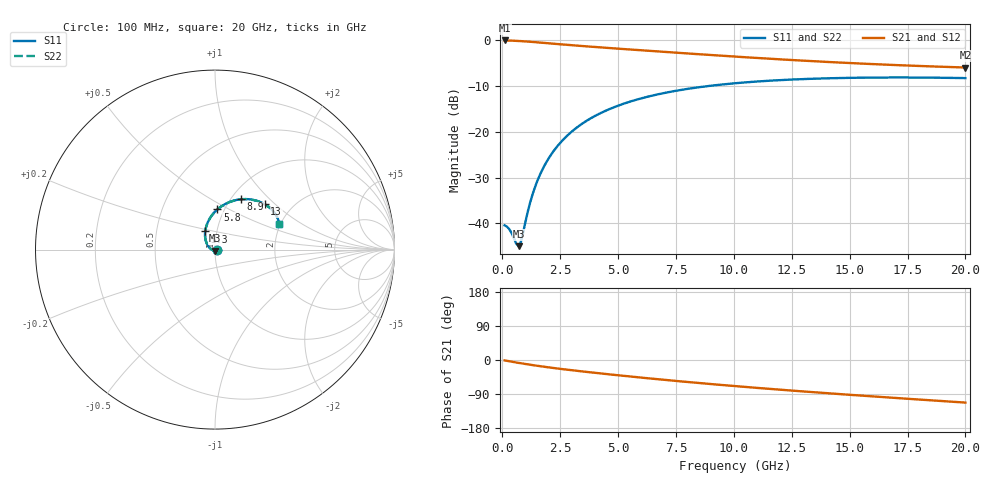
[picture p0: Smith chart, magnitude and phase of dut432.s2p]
! Touchstone file exported from HFSS 2024.1.0
!  File:  C:/UserFiles/LocalFiles/RDL_TSV_Batchsim/temp_RDL_TSV_432_1779720323.aedt
!  Generated:  11:02:35 PM May 25, 2026
!  Design:  RDL_TSV
!  Project:  temp_RDL_TSV_432_1779720323
!  Setup:  Setup1
!  Solution:  Sweep
! Variables:
!  dtsv = 11.18um
!  hbump = 3um
!  htsv = 56.24um
!  ldown = 288.21um
!  lrdl = 150.76um
!  p = 40
!  p1 = 53.84um
!  rhole = 10um
!  subl = 1467.67um
!  t = 450um
!  tdown = 2.81um
!  trdl = 2.8um
!  viad = 10um
!  wdown = 19.76um
!  wrdl = 22.99um
!  xbump = 18um
# GHz S MA R 50.000000
! Terminal data exported
! Port[1] = TM1_1_T1
! Port[2] = TM1_4_T1
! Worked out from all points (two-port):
!   200 points, 100 MHz to 20 GHz, reference 50 ohm
!   highest |S21| = -0.09 dB at 100 MHz (marker M1); lowest = -6.0 dB at 20 GHz (marker M2)
!   |S21| within 3 dB of the highest: start of sweep to 8.481 GHz
!   lowest |S11| = -45.0 dB at 700 MHz (marker M3), VSWR 1.01, Z = 50 - j0.564 ohm
!   |S11| at or under -10 dB: start of sweep to 8.951 GHz
!   |S22| runs from -45.0 to -8.2 dB; largest |S21 - S12| = 1e-13
!   S11 on the Smith chart (normalised r, x): 100 MHz: 1.02, -0.00; 3.3 GHz: 0.88, +0.18; 5.8 GHz: 0.93, +0.44; 8.9 GHz: 1.11, +0.69; 13 GHz: 1.47, +0.86; 20 GHz: 1.97, +0.65
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0.1  0.009513 -5.8  0.99 -1.1  0.99 -1.1  0.009513 -5.8
! Gamma 0 0 0 0
! Port Impedance 50 0 50 0
0.3  0.008665 -20.5  0.9875 -3.3  0.9875 -3.3  0.008667 -20.5
0.6  0.006026 -63.9  0.9803 -6.5  0.9803 -6.5  0.006029 -63.8
0.7  0.005644 -90.0  0.9773 -7.6  0.9773 -7.6  0.005645 -89.9
0.8  0.006252 -118.4  0.974 -8.6  0.974 -8.6  0.006248 -118.3
1.1  0.0134 -169.0  0.9625 -11.5  0.9625 -11.5  0.01338 -169.0
1.3  0.02045 175.6  0.954 -13.4  0.954 -13.4  0.02042 175.6
1.5  0.02848 165.0  0.9451 -15.2  0.9451 -15.2  0.02844 165.0
1.7  0.03718 156.8  0.9359 -16.9  0.9359 -16.9  0.03713 156.8
2  0.05109 146.9  0.9221 -19.4  0.9221 -19.4  0.05102 146.9
2.4  0.07057 136.3  0.904 -22.6  0.904 -22.6  0.07047 136.3
3.3  0.1151 118.3  0.8664 -29.1  0.8664 -29.1  0.1149 118.3
3.5  0.1248 115.0  0.8587 -30.5  0.8587 -30.5  0.1246 115.0
4.5  0.171 100.9  0.8226 -37.1  0.8226 -37.1  0.1707 100.9
5.8  0.2238 86.7  0.7798 -45.3  0.7798 -45.3  0.2234 86.7
6.8  0.2585 77.9  0.7491 -51.2  0.7491 -51.2  0.258 77.8
8.9  0.3151 62.9  0.6896 -62.9  0.6896 -62.9  0.3145 62.8
10.1  0.3388 55.9  0.659 -69.1  0.659 -69.1  0.3381 55.9
13  0.3753 42.4  0.5959 -83.0  0.5959 -83.0  0.3745 42.3
13.4  0.3784 40.8  0.5884 -84.8  0.5884 -84.8  0.3776 40.7
16.7  0.3907 29.7  0.5372 -99.0  0.5372 -99.0  0.3898 29.6
20  0.3846 21.6  0.5019 -112.4  0.5019 -112.4  0.3837 21.5
